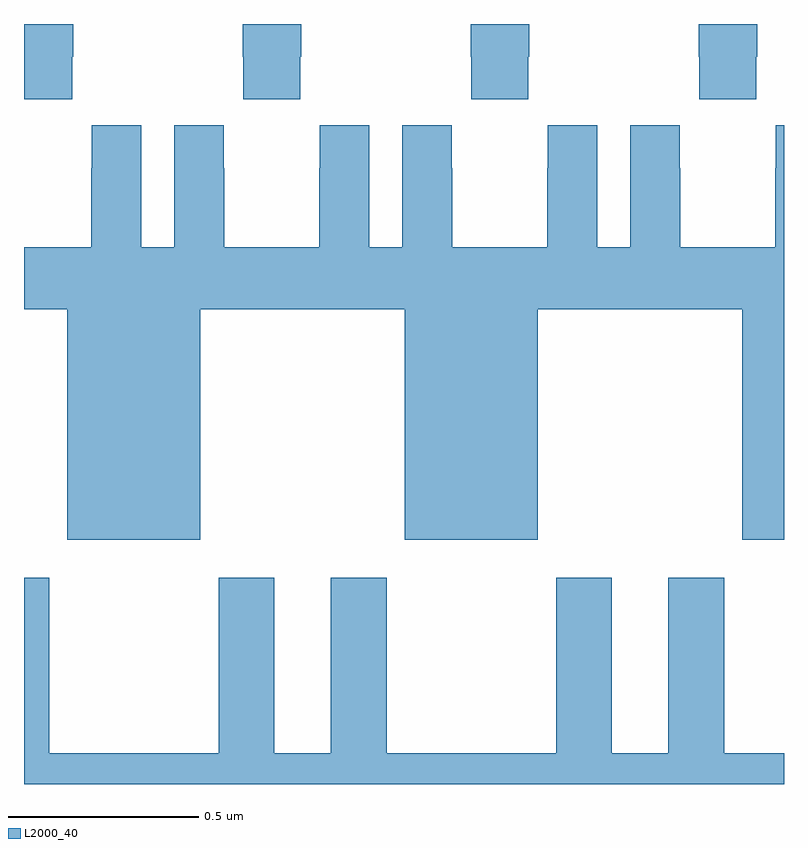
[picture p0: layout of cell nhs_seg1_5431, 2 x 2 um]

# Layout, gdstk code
import gdstk
lib = gdstk.Library(unit=1e-6, precision=1e-09)
def P(c, l, *ps):  # polygons
    for p in ps: c.add(gdstk.Polygon(p, *l))
L2000_40 = (2000, 40)

nhs_seg1_5431 = lib.new_cell('nhs_seg1_5431')
P(nhs_seg1_5431, L2000_40, [(179.727,503.113),(179.73,503.113),(179.73,503.199),(179.575,503.199),(179.575,503.113),(179.577,503.113),(179.577,503.001),(179.727,503.001)],
  [(180.327,503.113),(180.33,503.113),(180.33,503.199),(180.175,503.199),(180.175,503.113),(180.177,503.113),(180.177,503.001),(180.327,503.001)],
  [(180.927,503.113),(180.93,503.113),(180.93,503.199),(180.775,503.199),(180.775,503.113),(180.777,503.113),(180.777,503.001),(180.927,503.001)],
  [(179.127,503.113),(179.13,503.113),(179.13,503.199),(179,503.199),(179,503.001),(179.127,503.001)],
  [(179.464,502.448),(180.002,502.448),(180.002,501.842),(180.352,501.842),(180.352,502.448),(180.89,502.448),(180.89,501.842),(181,501.842),(181,502.933),(180.978,502.933),(180.978,502.82),(180.977,502.82),(180.977,502.612),(180.727,502.612),(180.727,502.82),(180.726,502.82),(180.726,502.933),(180.596,502.933),(180.596,502.612),(180.508,502.612),(180.508,502.933),(180.378,502.933),(180.378,502.82),(180.377,502.82),(180.377,502.612),(180.127,502.612),(180.127,502.82),(180.126,502.82),(180.126,502.933),(179.996,502.933),(179.996,502.612),(179.908,502.612),(179.908,502.933),(179.778,502.933),(179.778,502.82),(179.777,502.82),(179.777,502.612),(179.527,502.612),(179.527,502.82),(179.526,502.82),(179.526,502.933),(179.396,502.933),(179.396,502.612),(179.308,502.612),(179.308,502.933),(179.178,502.933),(179.178,502.82),(179.177,502.82),(179.177,502.612),(179,502.612),(179,502.448),(179.114,502.448),(179.114,501.842),(179.464,501.842)],
  [(181,501.28),(180.843,501.28),(180.843,501.742),(180.695,501.742),(180.695,501.28),(180.547,501.28),(180.547,501.742),(180.4,501.742),(180.4,501.28),(179.955,501.28),(179.955,501.742),(179.807,501.742),(179.807,501.28),(179.659,501.28),(179.659,501.742),(179.512,501.742),(179.512,501.28),(179.067,501.28),(179.067,501.742),(179,501.742),(179,501.199),(181,501.199)])

lib.write_gds('nhs_seg1_5431.gds')
